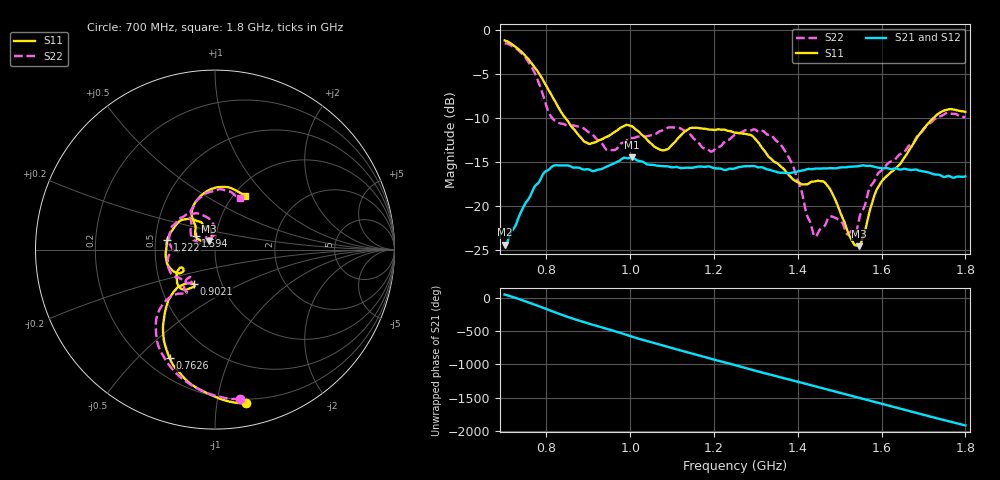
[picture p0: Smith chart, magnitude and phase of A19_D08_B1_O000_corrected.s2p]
! Created with skrf 1.9.0 (http://scikit-rf.org).
# Hz S RI R 50.0
!freq ReS11 ImS11 ReS21 ImS21 ReS12 ImS12 ReS22 ImS22
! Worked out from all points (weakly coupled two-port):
!   1601 points, 700 MHz to 1.8 GHz, reference 50 ohm
!   highest |S21| = -14.50 dB at 1.003 GHz (marker M1); lowest = -24.4 dB at 700 MHz (marker M2)
!   lowest |S11| = -24.6 dB at 1.546 GHz (marker M3), VSWR 1.12, Z = 46.5 + j4.49 ohm
!   |S11| at or under -10 dB: 845 MHz to 1.724 GHz (878.9 MHz wide, 68.4 % of centre)
!   |S22| runs from -23.5 to -1.5 dB; largest |S21 - S12| = 0.0037
!   S11 on the Smith chart (normalised r, x): 700 MHz: 0.17, -1.21; 762.6 MHz: 0.29, -0.63; 902.1 MHz: 0.74, -0.30; 1.222 GHz: 0.58, +0.07; 1.594 GHz: 0.80, +0.12; 1.8 GHz: 1.12, +0.76
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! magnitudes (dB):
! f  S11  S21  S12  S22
! 700 MHz  -1.2  -24.4  -24.2  -1.5
! 762.6 MHz  -3.7  -18.7  -18.7  -4.1
! 814.1 MHz  -7.6  -15.5  -15.6  -10.0
! 883.6 MHz  -12.3  -15.8  -15.7  -11.1
! 902.1 MHz  -13.0  -15.9  -15.9  -11.7
! 948.2 MHz  -12.1  -15.5  -15.5  -13.7
! 1.003 GHz  -10.9  -14.5  -14.6  -12.3
! 1.067 GHz  -13.5  -15.5  -15.4  -11.6
! 1.144 GHz  -11.1  -15.7  -15.7  -11.9
! 1.192 GHz  -11.3  -15.6  -15.6  -13.8
! 1.222 GHz  -11.3  -15.9  -15.9  -12.8
! 1.25 GHz  -11.7  -15.7  -15.7  -11.9
! 1.359 GHz  -15.5  -16.3  -16.2  -13.0
! 1.39 GHz  -17.0  -16.2  -16.2  -15.6
! 1.434 GHz  -17.3  -15.8  -15.8  -22.6
! 1.472 GHz  -17.8  -15.7  -15.7  -21.5
! 1.52 GHz  -23.1  -15.6  -15.6  -23.3
! 1.546 GHz  -24.6  -15.5  -15.5  -21.5
! 1.594 GHz  -17.7  -15.7  -15.7  -16.2
! 1.617 GHz  -16.4  -15.8  -15.7  -15.1
! 1.732 GHz  -9.6  -16.5  -16.5  -10.0
! 1.8 GHz  -9.3  -16.7  -16.7  -9.9
